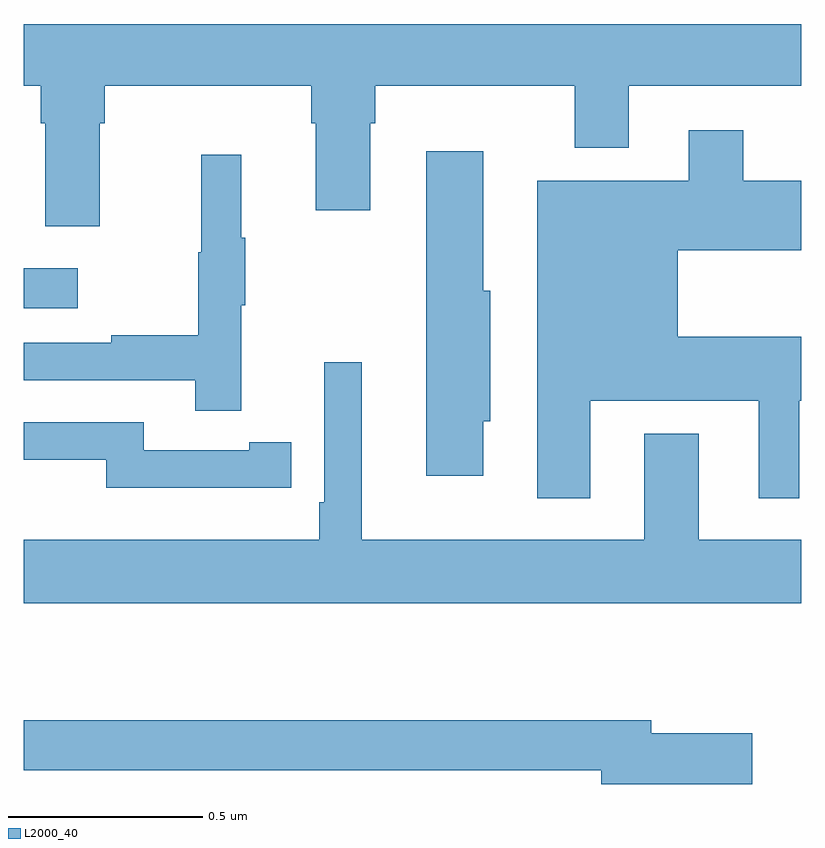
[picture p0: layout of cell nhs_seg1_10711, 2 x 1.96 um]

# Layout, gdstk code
import gdstk
lib = gdstk.Library(unit=1e-6, precision=1e-09)
def R(c, l, rs):  # rectangles x0, y0, x1, y1
    for r in rs: c.add(gdstk.rectangle(r[:2], r[2:], *l))
def P(c, l, *ps):  # polygons
    for p in ps: c.add(gdstk.Polygon(p, *l))
L2000_40 = (2000, 40)

nhs_seg1_10711 = lib.new_cell('nhs_seg1_10711')
R(nhs_seg1_10711, L2000_40, [(244,576.467,244.138,576.571)])
P(nhs_seg1_10711, L2000_40, [(244.195,576.944),(244.208,576.944),(244.208,577.04),(244.739,577.04),(244.739,576.944),(244.751,576.944),(244.751,576.72),(244.891,576.72),(244.891,576.944),(244.904,576.944),(244.904,577.04),(245.417,577.04),(245.417,576.881),(245.557,576.881),(245.557,577.04),(246,577.04),(246,577.199),(244,577.199),(244,577.04),(244.043,577.04),(244.043,576.944),(244.055,576.944),(244.055,576.678),(244.195,576.678)],
  [(245.458,576.23),(245.891,576.23),(245.891,575.979),(245.995,575.979),(245.995,576.23),(246,576.23),(246,576.394),(245.683,576.394),(245.683,576.617),(246,576.617),(246,576.795),(245.851,576.795),(245.851,576.925),(245.711,576.925),(245.711,576.796),(245.321,576.796),(245.321,575.979),(245.458,575.979)],
  [(245.182,576.177),(245.2,576.177),(245.2,576.513),(245.182,576.513),(245.182,576.871),(245.036,576.871),(245.036,576.036),(245.182,576.036)],
  [(244.559,576.475),(244.57,576.475),(244.57,576.649),(244.559,576.649),(244.559,576.862),(244.456,576.862),(244.456,576.612),(244.449,576.612),(244.449,576.398),(244.225,576.398),(244.225,576.378),(244,576.378),(244,576.282),(244.441,576.282),(244.441,576.204),(244.559,576.204)],
  [(246,575.872),(245.737,575.872),(245.737,576.145),(245.597,576.145),(245.597,575.872),(244.87,575.872),(244.87,576.328),(244.773,576.328),(244.773,575.968),(244.76,575.968),(244.76,575.872),(244,575.872),(244,575.708),(246,575.708)],
  [(244.58,576.006),(244.688,576.006),(244.688,576.122),(244.58,576.122),(244.58,576.102),(244.308,576.102),(244.308,576.174),(244,576.174),(244,576.078),(244.212,576.078),(244.212,576.005),(244.58,576.005)],
  [(245.875,575.373),(245.614,575.373),(245.614,575.407),(244,575.407),(244,575.278),(245.486,575.278),(245.486,575.243),(245.875,575.243)])

lib.write_gds('nhs_seg1_10711.gds')
